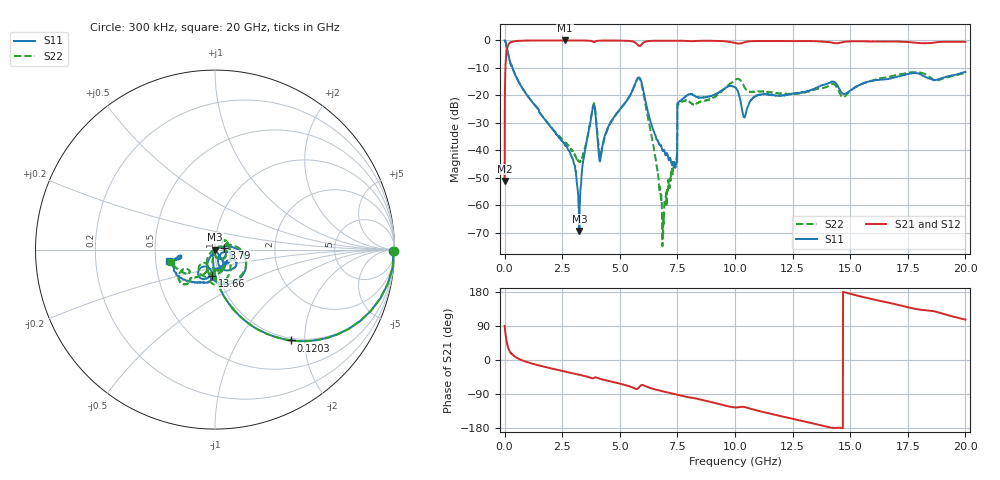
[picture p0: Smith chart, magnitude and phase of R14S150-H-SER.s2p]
!{R14S150}
!Johanson Technology Inc.
!www.johansontechnology.com
!Test Board Conditions:
!Substrate Type  RO4350B
!Substrate Thickness  20 mil
!Substrate Dk  3.66
!TL Type: GCPW
!TL Trace Width  36 mil
!TL Gap  12 mil
!Electrode orientation  Horizontal
!DUT TOPOLOGY	SERIES
!Mounting Pad LxW  26x36 mil
! Created Wed Nov 25 17:33:21 2020
! 2 Port Network Data from SP1.SP block
! freq  magS11  angS11  magS21  angS21  magS12  angS12  magS22  angS22
# khz S ma R 50
! decimated to every 10th point (10 MHz spacing) of the original 1 MHz Johanson file; values unchanged
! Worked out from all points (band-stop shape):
!   2001 points, 300 kHz to 20 GHz, reference 50 ohm
!   highest |S21| = -0.02 dB at 2.62 GHz (marker M1); lowest = -51.1 dB at 300 kHz (marker M2)
!   |S21| within 3 dB of the highest: 106.4 MHz to end of sweep
!   lowest |S11| = -69.3 dB at 3.25 GHz (marker M3), VSWR 1.00, Z = 50 + j0.0326 ohm
!   |S11| at or under -10 dB: 341.7 MHz to end of sweep
!   |S22| runs from -74.8 to 0.0 dB; largest |S21 - S12| = 0.017
!   S11 on the Smith chart (normalised r, x): 300 kHz: open; 120.3 MHz: 0.96, -1.72; 3.79 GHz: 1.10, +0.02; 13.66 GHz: 0.93, -0.28; 20 GHz: 0.59, -0.08
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300  0.9937 -0.3  0.002786 90.1  0.002833 89.4  0.9977 -0.3
120300  0.6595 -50.1  0.749 39.8  0.7499 39.7  0.6601 -50.1
550300  0.1976 -84.5  0.979 5.1  0.9794 5.1  0.198 -84.8
2620300  0.0124 -124.7  0.9981 -30.5  0.9968 -30.5  0.01393 -101.1
2990300  0.006131 -135.4  0.996 -35.6  0.9956 -35.6  0.009159 -84.5
3250300  0.0003438 71.3  0.996 -39.2  0.996 -39.2  0.006275 -43.5
3340300  0.00347 45.6  0.9958 -40.4  0.9957 -40.4  0.006776 -18.3
3790300  0.04864 10.5  0.9703 -47.9  0.9708 -47.9  0.05041 7.4
3910300  0.06153 -57.6  0.9355 -46.1  0.9351 -46.2  0.06573 -57.8
4170300  0.007525 -9.8  0.9916 -50.1  0.9914 -50.1  0.007751 -20.8
5850300  0.2102 -61.2  0.7907 -71.5  0.7905 -71.5  0.2009 -59.5
6670300  0.01467 -104.5  0.9886 -79.7  0.9883 -79.7  0.003387 173.0
6930300  0.01001 -92.9  0.9901 -83.6  0.9902 -83.6  0.0009111 8.1
7390300  0.005093 -58.9  0.9911 -90.1  0.9896 -90.1  0.006395 -56.6
7600300  0.07907 -55.7  0.9864 -93.0  0.9864 -93.0  0.07201 44.1
1.00003e7  0.1413 -53.9  0.9002 -125.2  0.9008 -125.2  0.1904 -74.6
1.04003e7  0.0398 -40.1  0.9224 -123.9  0.923 -123.9  0.1444 -101.3
1.09803e7  0.0996 -21.5  0.9777 -133.6  0.9744 -133.6  0.1177 -76.8
1.33403e7  0.1276 -93.3  0.97 -166.6  0.9733 -166.6  0.1215 -70.0
1.36603e7  0.1459 -96.4  0.9583 -171.4  0.9607 -171.5  0.134 -81.5
1.66703e7  0.2 -114.3  0.9545 151.2  0.9498 151.1  0.2177 -129.7
2e7  0.2661 -166.4  0.94 106.4  0.9403 106.6  0.257 -164.1
